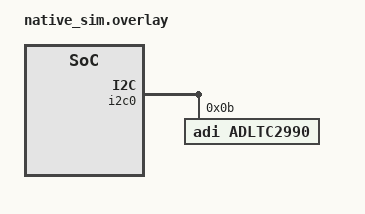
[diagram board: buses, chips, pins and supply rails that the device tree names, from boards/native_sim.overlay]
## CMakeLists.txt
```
cmake_minimum_required(VERSION 3.20.0)

set(BOARD "native_sim")

find_package(Zephyr REQUIRED HINTS $ENV{ZEPHYR_BASE})

project(demo-zephyr LANGUAGES C)

# The library 'app' is mandatory as it is predefined by Zephir build system.
# See for details ${ZEPHYR_BASE}/cmake/modules/kernel.cmake
target_sources(app PRIVATE src/main.c)

target_include_directories(app PRIVATE ${CMAKE_SOURCE_DIR}/src)

add_subdirectory(src/core)
add_subdirectory(src/emulators)
add_subdirectory(src/controller)
add_subdirectory(src/gui)
```

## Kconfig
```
module = APP
module-str = Demo application

source "subsys/logging/Kconfig.template.log_config"
source "Kconfig.zephyr"
```

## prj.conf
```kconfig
# Main options
CONFIG_NUM_COOP_PRIORITIES=3
CONFIG_NUM_PREEMPT_PRIORITIES=3

CONFIG_HEAP_MEM_POOL_SIZE=256
CONFIG_POLL=y

CONFIG_SENSOR=y
CONFIG_EMUL=y
CONFIG_TEST_RANDOM_GENERATOR=y

# GUI options
CONFIG_LVGL=y
CONFIG_LV_Z_MEM_POOL_SIZE=32768
CONFIG_LV_COLOR_DEPTH_32=y
CONFIG_LV_USE_QRCODE=y
CONFIG_DISPLAY=y
CONFIG_INPUT=y

# Debug options
CONFIG_LOG=y
CONFIG_APP_LOG_LEVEL_DBG=y
CONFIG_ASSERT=y
CONFIG_LOG_THREAD_ID_PREFIX=y
CONFIG_THREAD_NAME=y
```

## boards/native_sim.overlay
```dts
&i2c0 {
    adltc2990: adltc2990@b {
        compatible = "adi,adltc2990";
        reg = <0xb>;
        temperature-format = <0>;
        acquistion-format = <1>;
        measurement-mode = <1 3>;
        pins-v1-v2-current-resistor = <1000000>;
        pins-v3-v4-current-resistor = <0>;
        pin-v1-voltage-divider-resistors = <0 1>;
        pin-v2-voltage-divider-resistors = <0 1>;
        pin-v3-voltage-divider-resistors = <0 1>;
        pin-v4-voltage-divider-resistors = <0 1>;
    };
};
```

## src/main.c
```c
#include "gui/gui.h"
#include "controller/controller.h"
#include "emulators/manager.h"

#include <zephyr/kernel.h>
#include <zephyr/logging/log.h>

LOG_MODULE_REGISTER(app_demo, CONFIG_APP_LOG_LEVEL);

int main()
{
    /* Initialization stage */
    emulators_start();
    controller_start();
    gui_start();

    LOG_INF("The board '%s' is started", CONFIG_BOARD_TARGET);

    /* Application waiting stage as other processing threads are running */
    while(true)
    {
        k_sleep(K_FOREVER);
    }

    LOG_INF("Stop %s\n", CONFIG_BOARD_TARGET);

    /* Shutdown stage */
    gui_stop();
    controller_stop();
    emulators_stop();

    return 0;
}
```
